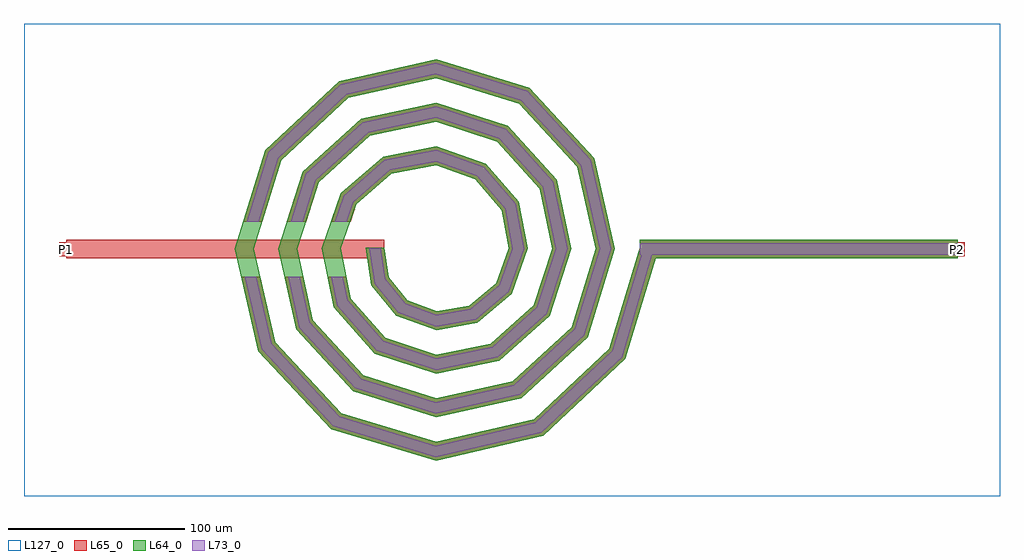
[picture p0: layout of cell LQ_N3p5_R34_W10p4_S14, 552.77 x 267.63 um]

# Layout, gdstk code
import gdstk
lib = gdstk.Library(unit=1e-6, precision=1e-09)
def R(c, l, rs):  # rectangles x0, y0, x1, y1
    for r in rs: c.add(gdstk.rectangle(r[:2], r[2:], *l))
def P(c, l, *ps):  # polygons
    for p in ps: c.add(gdstk.Polygon(p, *l))
L64_0 = (64, 0)
L65_0 = (65, 0)
L73_0 = (73, 0)
L127_0 = (127, 0)

lq_n3p5_r34_w10p4_s14 = lib.new_cell('LQ_N3p5_R34_W10p4_S14')
R(lq_n3p5_r34_w10p4_s14, L64_0, [(115.575,-5.2,295.575,5.2)])
P(lq_n3p5_r34_w10p4_s14, L64_0, [(-26.643,-16.034),(-16.109,-28.971),(0.508,-35.199),(19.046,-32.021),(34.273,-19.255),(41.364,0.441),(37.391,22.076),(22.386,39.585),(0.39,47.531),(-25.118,42.756),(-44.905,25.508),(-53.699,0.349),(-48.116,-28.17),(-28.623,-50.229),(0.316,-59.867),(31.227,-53.474),(55.557,-31.732),(66.036,0.289),(58.829,34.29),(34.838,60.888),(0.266,72.205),(-37.355,64.183),(-66.22,37.94),(-78.375,0.247),(-69.535,-40.424),(-41.04,-71.554),(0.23,-84.545),(43.495,-74.887),(76.89,-44.139),(90.714,0.215),(80.237,46.568),(47.235,82.226),(0.202,96.884),(-49.642,85.586),(-87.563,50.331),(-103.054,0.19),(-90.935,-52.717),(-53.425,-92.901),(0.18,-109.224),(55.794,-96.283),(98.24,-56.518),(115.798,1.506),(125.752,-1.506),(107.386,-62.2),(60.868,-105.78),(0.18,-119.986),(-59.123,-102.038),(-100.441,-57.774),(-113.815,0.19),(-96.688,56.047),(-54.679,95.103),(0.202,107.644),(52.972,91.338),(89.765,51.583),(101.474,0.215),(85.988,-49.899),(48.486,-84.428),(0.23,-95.303),(-46.827,-80.636),(-79.092,-45.386),(-89.132,0.247),(-75.283,43.756),(-42.285,73.757),(0.266,82.961),(40.689,69.928),(68.424,39.18),(76.79,0.289),(64.572,-37.624),(36.072,-63.092),(0.316,-70.618),(-34.563,-59.212),(-57.763,-32.959),(-64.446,0.349),(-53.849,31.508),(-29.841,52.436),(0.39,58.274),(28.459,48.482),(47.113,26.713),(52.1,0.441),(43.107,-25.42),(23.573,-41.796),(0.508,-45.925),(-22.396,-37.721),(-36.488,-20.414),(-39.53,0.797),(-29.253,0.797)])
R(lq_n3p5_r34_w10p4_s14, L65_0, [(-209.192,-5.2,-29.192,5.2), (115.575,-5.2,295.575,5.2), (-213.192,-4,-205.192,4), (291.575,-4,299.575,4)])
P(lq_n3p5_r34_w10p4_s14, L65_0, [(-90.935,-52.717),(-53.425,-92.901),(0.18,-109.224),(55.794,-96.283),(98.24,-56.518),(115.798,1.506),(125.752,-1.506),(107.386,-62.2),(60.868,-105.78),(0.18,-119.986),(-59.123,-102.038),(-100.442,-57.774),(-110.172,-15.6),(-99.499,-15.6)],
  [(-69.535,-40.424),(-41.041,-71.554),(0.23,-84.545),(43.495,-74.887),(76.89,-44.139),(90.714,0.215),(80.237,46.568),(47.235,82.226),(0.202,96.884),(-49.642,85.586),(-87.563,50.331),(-98.212,15.6),(-109.09,15.6),(-96.688,56.047),(-54.679,95.103),(0.202,107.644),(52.972,91.339),(89.765,51.583),(101.474,0.215),(85.988,-49.899),(48.486,-84.428),(0.23,-95.303),(-46.827,-80.636),(-79.092,-45.386),(-85.646,-15.6),(-74.997,-15.6)],
  [(-48.116,-28.17),(-28.623,-50.229),(0.316,-59.867),(31.227,-53.474),(55.557,-31.732),(66.036,0.289),(58.83,34.29),(34.838,60.888),(0.266,72.206),(-37.356,64.183),(-66.22,37.94),(-73.331,15.6),(-84.245,15.6),(-75.283,43.756),(-42.285,73.757),(0.266,82.961),(40.689,69.928),(68.424,39.18),(76.79,0.289),(64.572,-37.624),(36.072,-63.092),(0.316,-70.618),(-34.563,-59.212),(-57.763,-32.96),(-61.246,-15.6),(-50.639,-15.6)],
  [(-16.109,-28.971),(0.508,-35.199),(19.046,-32.021),(34.273,-19.255),(41.364,0.441),(37.391,22.076),(22.386,39.585),(0.39,47.531),(-25.118,42.756),(-44.905,25.508),(-48.275,15.6),(-59.26,15.6),(-53.849,31.508),(-29.841,52.436),(0.39,58.274),(28.459,48.482),(47.114,26.713),(52.1,0.441),(43.107,-25.42),(23.573,-41.797),(0.508,-45.925),(-22.396,-37.722),(-36.488,-20.414),(-39.53,0.797),(-29.253,0.797),(-26.643,-16.034)])
R(lq_n3p5_r34_w10p4_s14, L73_0, [(115.575,-3.2,295.575,3.2)])
P(lq_n3p5_r34_w10p4_s14, L73_0, [(-92.763,-53.69),(-54.521,-94.658),(0.111,-111.293),(56.769,-98.11),(99.999,-57.611),(117.712,0.927),(123.838,0.927),(105.627,-61.108),(59.892,-103.954),(0.111,-117.916),(-58.027,-100.281),(-98.613,-56.802),(-108.119,-15.6),(-101.551,-15.6)],
  [(-71.373,-41.378),(-42.153,-73.301),(0.141,-86.614),(44.455,-76.722),(78.639,-45.246),(92.783,0.132),(82.069,47.532),(48.339,83.978),(0.124,98.953),(-50.611,87.416),(-89.318,51.43),(-100.304,15.6),(-106.998,15.6),(-94.934,54.948),(-53.711,93.273),(0.124,105.575),(51.869,89.586),(87.933,50.619),(99.405,0.132),(84.238,-48.791),(47.526,-82.593),(0.141,-93.234),(-45.714,-78.89),(-77.255,-44.432),(-83.598,-15.6),(-77.045,-15.6)],
  [(-49.971,-29.091),(-29.765,-51.957),(0.195,-61.935),(32.159,-55.324),(57.291,-32.865),(68.104,0.178),(60.675,35.23),(35.963,62.626),(0.164,74.274),(-38.303,66.024),(-67.963,39.059),(-75.43,15.6),(-82.146,15.6),(-73.54,42.638),(-41.337,71.916),(0.164,80.893),(39.564,68.19),(66.579,38.24),(74.722,0.178),(62.838,-36.491),(35.141,-61.243),(0.195,-68.551),(-33.421,-57.485),(-55.908,-32.038),(-59.206,-15.6),(-52.679,-15.6)],
  [(-17.318,-30.654),(0.313,-37.262),(19.916,-33.901),(35.972,-20.441),(43.429,0.271),(39.261,22.968),(23.554,41.296),(0.24,49.597),(-26.027,44.617),(-46.625,26.662),(-50.387,15.6),(-57.147,15.6),(-52.129,30.354),(-28.933,50.575),(0.24,56.208),(27.291,46.771),(45.244,25.821),(50.035,0.271),(41.408,-24.235),(22.702,-39.917),(0.313,-43.862),(-21.187,-36.039),(-34.594,-19.572),(-37.554,0.49),(-31.229,0.49),(-28.536,-16.876)])
R(lq_n3p5_r34_w10p4_s14, L127_0, [(-233.192,-139.986,319.575,127.644)])
lq_n3p5_r34_w10p4_s14.add(gdstk.Label('P2', (295.575,0), layer=65, texttype=0))
lq_n3p5_r34_w10p4_s14.add(gdstk.Label('P1', (-209.192,0), layer=65, texttype=0))
lq_n3p5_r34_w10p4_s14.add(gdstk.Label('P2', (299.575,0), layer=145, texttype=0))
lq_n3p5_r34_w10p4_s14.add(gdstk.Label('P1', (-213.192,0), layer=145, texttype=0))

lib.write_gds('LQ_N3p5_R34_W10p4_S14.gds')
